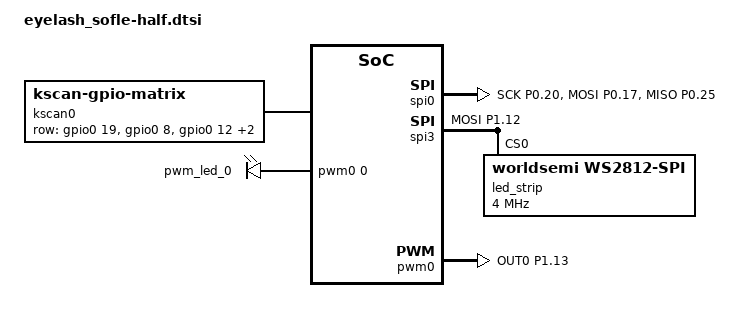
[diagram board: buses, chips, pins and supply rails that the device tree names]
/*
 * Hardware present on both keyboard halves (not on the dongle): key matrix,
 * nice!view SPI bus, WS2812 underglow, per-key backlight PWM.
 *
 * Pin assignments come from the seller's original board definition. The board
 * is electrically a nice!nano v2 clone, so battery sensing and external power
 * control come from the nice_nano_v2 board definition.
 *
 * SPDX-License-Identifier: MIT
 */

#include <dt-bindings/led/led.h>
#include "eyelash_sofle.dtsi"

/ {
    chosen {
        zmk,kscan = &kscan0;
        zmk,underglow = &led_strip;
        zmk,backlight = &backlight;
    };

    kscan0: kscan {
        compatible = "zmk,kscan-gpio-matrix";
        wakeup-source;
        diode-direction = "col2row";
        row-gpios
            = <&gpio0 19 (GPIO_ACTIVE_HIGH | GPIO_PULL_DOWN)>
            , <&gpio0 8 (GPIO_ACTIVE_HIGH | GPIO_PULL_DOWN)>
            , <&gpio0 12 (GPIO_ACTIVE_HIGH | GPIO_PULL_DOWN)>
            , <&gpio0 11 (GPIO_ACTIVE_HIGH | GPIO_PULL_DOWN)>
            , <&gpio1 9 (GPIO_ACTIVE_HIGH | GPIO_PULL_DOWN)>
            ;
    };

    backlight: pwmleds {
        compatible = "pwm-leds";
        pwm_led_0 {
            pwms = <&pwm0 0 PWM_MSEC(1) PWM_POLARITY_NORMAL>;
        };
    };
};

&pinctrl {
    /*
     * nice!view on SPI0. Not the nice!nano's default SPI1, whose SCK sits on
     * P1.13, which this PCB uses for the backlight.
     */
    spi0_default: spi0_default {
        group1 {
            psels = <NRF_PSEL(SPIM_SCK, 0, 20)>,
                <NRF_PSEL(SPIM_MOSI, 0, 17)>,
                <NRF_PSEL(SPIM_MISO, 0, 25)>;
        };
    };

    spi0_sleep: spi0_sleep {
        group1 {
            psels = <NRF_PSEL(SPIM_SCK, 0, 20)>,
                <NRF_PSEL(SPIM_MOSI, 0, 17)>,
                <NRF_PSEL(SPIM_MISO, 0, 25)>;
            low-power-enable;
        };
    };

    spi3_default: spi3_default {
        group1 {
            psels = <NRF_PSEL(SPIM_MOSI, 1, 12)>;
        };
    };

    spi3_sleep: spi3_sleep {
        group1 {
            psels = <NRF_PSEL(SPIM_MOSI, 1, 12)>;
            low-power-enable;
        };
    };

    pwm0_default: pwm0_default {
        group1 {
            psels = <NRF_PSEL(PWM_OUT0, 1, 13)>;
        };
    };

    pwm0_sleep: pwm0_sleep {
        group1 {
            psels = <NRF_PSEL(PWM_OUT0, 1, 13)>;
            low-power-enable;
        };
    };
};

nice_view_spi: &spi0 {
    compatible = "nordic,nrf-spim";
    pinctrl-0 = <&spi0_default>;
    pinctrl-1 = <&spi0_sleep>;
    pinctrl-names = "default", "sleep";
    cs-gpios = <&gpio0 6 GPIO_ACTIVE_HIGH>;
};

&spi3 {
    compatible = "nordic,nrf-spim";
    status = "okay";
    pinctrl-0 = <&spi3_default>;
    pinctrl-1 = <&spi3_sleep>;
    pinctrl-names = "default", "sleep";

    led_strip: ws2812@0 {
        compatible = "worldsemi,ws2812-spi";
        reg = <0>;
        spi-max-frequency = <4000000>;
        chain-length = <7>;
        spi-one-frame = <0x70>;
        spi-zero-frame = <0x40>;
        color-mapping = <LED_COLOR_ID_GREEN LED_COLOR_ID_RED LED_COLOR_ID_BLUE>;
    };
};

&pwm0 {
    status = "okay";
    pinctrl-0 = <&pwm0_default>;
    pinctrl-1 = <&pwm0_sleep>;
    pinctrl-names = "default", "sleep";
};
